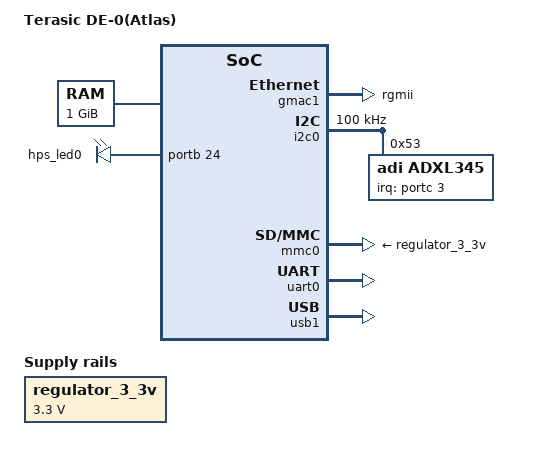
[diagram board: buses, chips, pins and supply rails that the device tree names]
// SPDX-License-Identifier: GPL-2.0
/*
 * Copyright Altera Corporation (C) 2015. All rights reserved.
 */

#include "socfpga_cyclone5.dtsi"

/ {
	model = "Terasic DE-0(Atlas)";
	compatible = "terasic,de0-atlas", "altr,socfpga-cyclone5", "altr,socfpga";

	chosen {
		bootargs = "earlyprintk";
		stdout-path = "serial0:115200n8";
	};

	memory@0 {
		name = "memory";
		device_type = "memory";
		reg = <0x0 0x40000000>; /* 1GB */
	};

	aliases {
		ethernet0 = &gmac1;
	};

	regulator_3_3v: regulator {
		compatible = "regulator-fixed";
		regulator-name = "3.3V";
		regulator-min-microvolt = <3300000>;
		regulator-max-microvolt = <3300000>;
	};

	leds {
		compatible = "gpio-leds";
		hps0 {
			label = "hps_led0";
			gpios = <&portb 24 0>;
			linux,default-trigger = "heartbeat";
		};
	};
};

&gmac1 {
	status = "okay";
	phy-mode = "rgmii";

	txd0-skew-ps = <0>; /* -420ps */
	txd1-skew-ps = <0>; /* -420ps */
	txd2-skew-ps = <0>; /* -420ps */
	txd3-skew-ps = <0>; /* -420ps */
	rxd0-skew-ps = <420>; /* 0ps */
	rxd1-skew-ps = <420>; /* 0ps */
	rxd2-skew-ps = <420>; /* 0ps */
	rxd3-skew-ps = <420>; /* 0ps */
	txen-skew-ps = <0>; /* -420ps */
	txc-skew-ps = <1860>; /* 960ps */
	rxdv-skew-ps = <420>; /* 0ps */
	rxc-skew-ps = <1680>; /* 780ps */

	max-frame-size = <3800>;
};

&gpio0 {
	status = "okay";
};

&gpio1 {
	status = "okay";
};

&gpio2 {
	status = "okay";
};

&i2c0 {
	status = "okay";
	clock-frequency = <100000>;

	adxl345: adxl345@53 {
		compatible = "adi,adxl345";
		reg = <0x53>;

		interrupt-parent = <&portc>;
		interrupts = <3 2>;
	};
};

&mmc0 {
	vmmc-supply = <&regulator_3_3v>;
	vqmmc-supply = <&regulator_3_3v>;
	status = "okay";
};

&uart0 {
	status = "okay";
};

&usb1 {
	status = "okay";
};
